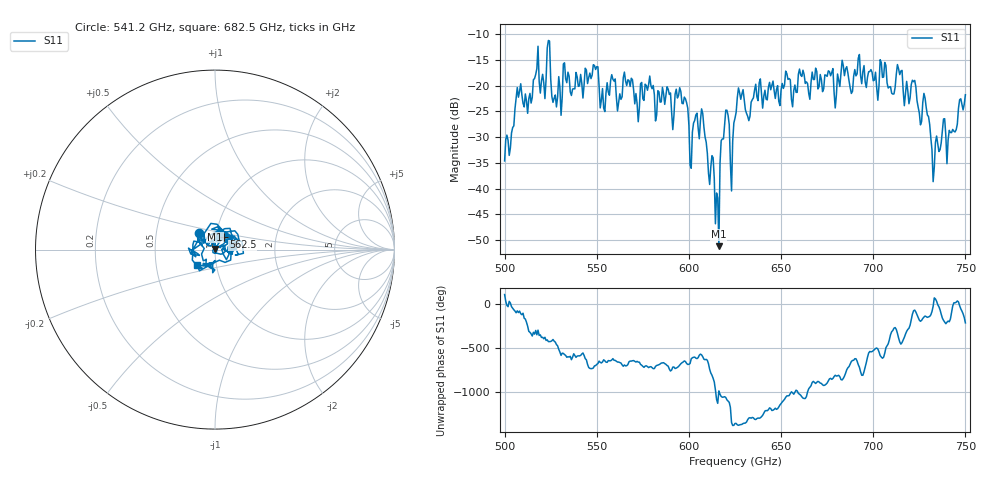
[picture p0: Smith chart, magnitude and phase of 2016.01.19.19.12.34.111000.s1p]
!Created with skrf (http://scikit-rf.org).
# GHz S RI R 50.0
!freq ReS11 ImS11
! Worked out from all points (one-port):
!   401 points, 500 GHz to 750 GHz, reference 50 ohm
!   lowest |S11| = -51.2 dB at 616.2 GHz (marker M1), VSWR 1.01, Z = 50 + j0.276 ohm
!   |S11| at or under -10 dB: start of sweep to end of sweep
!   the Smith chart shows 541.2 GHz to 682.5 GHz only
!   S11 on the Smith chart (normalised r, x): 541.2 GHz: 0.82, +0.15; 562.5 GHz: 1.09, +0.15; 682.5 GHz: 0.81, -0.14
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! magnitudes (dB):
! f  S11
! 500 GHz  -34.6
! 507.5 GHz  -22.2
! 513.8 GHz  -21.5
! 516.9 GHz  -17.8
! 531.2 GHz  -22.3
! 541.2 GHz  -17.8
! 549.4 GHz  -16.9
! 553.1 GHz  -20.6
! 558.8 GHz  -18.8
! 562.5 GHz  -21.6
! 593.8 GHz  -22.4
! 601.2 GHz  -36.0
! 607.5 GHz  -25.4
! 615 GHz  -40.8
! 616.2 GHz  -51.2
! 619.4 GHz  -27.4
! 623.1 GHz  -40.4
! 625 GHz  -26.3
! 628.1 GHz  -22.7
! 631.9 GHz  -25.9
! 656.2 GHz  -24.1
! 682.5 GHz  -17.6
! 687.5 GHz  -20.4
! 714.4 GHz  -17.9
! 718.8 GHz  -21.0
! 728.8 GHz  -24.3
! 732.5 GHz  -38.6
! 750 GHz  -21.8
